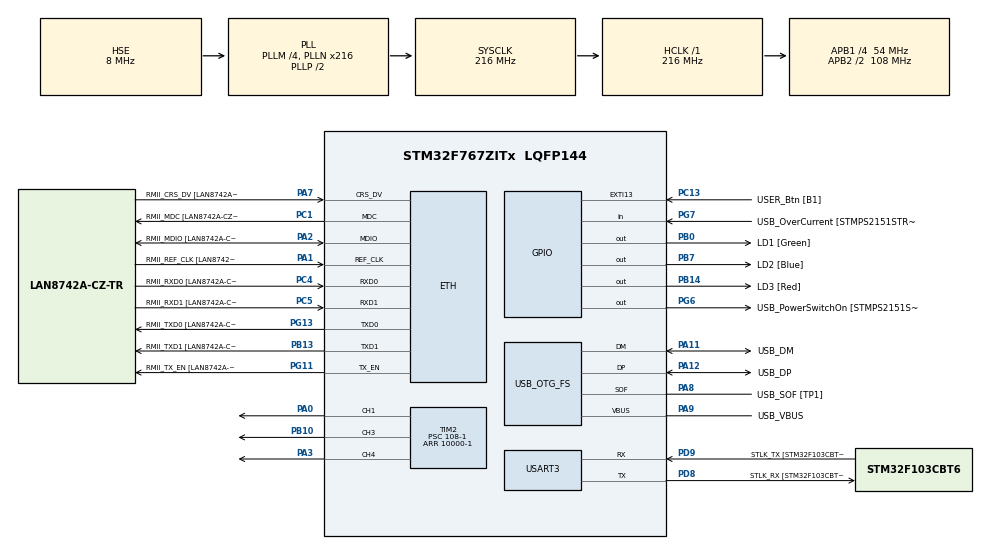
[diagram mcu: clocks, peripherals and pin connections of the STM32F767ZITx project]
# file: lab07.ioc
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ETH.MediaInterface=HAL_ETH_RMII_MODE
ETH.PHY_Name=LAN8742A_PHY_ADDRESS
ETH.PHY_Value=0
ETH.PhyAddress=0
Mcu.Family=STM32F7
Mcu.Name=STM32F767ZITx
Mcu.Package=LQFP144
NVIC.PriorityGroup=NVIC_PRIORITYGROUP_2
PA0/WKUP.Signal=S_TIM2_CH1_ETR
PA1.GPIO_Label=RMII_REF_CLK [LAN8742A-CZ-TR_REFCLK0]
PA1.Mode=RMII
PA1.Signal=ETH_REF_CLK
PA10.GPIO_Label=USB_ID
PA10.Signal=USB_OTG_FS_ID
PA11.GPIO_Label=USB_DM
PA11.Mode=Device_Only
PA11.Signal=USB_OTG_FS_DM
PA12.GPIO_Label=USB_DP
PA12.Mode=Device_Only
PA12.Signal=USB_OTG_FS_DP
PA13.GPIO_Label=TMS
PA13.Mode=Serial_Wire
PA13.Signal=SYS_JTMS-SWDIO
PA14.GPIO_Label=TCK
PA14.Mode=Serial_Wire
PA14.Signal=SYS_JTCK-SWCLK
PA2.GPIO_Label=RMII_MDIO [LAN8742A-CZ-TR_MDIO]
PA2.Mode=RMII
PA2.Signal=ETH_MDIO
PA3.Signal=S_TIM2_CH4
PA7.GPIO_Label=RMII_CRS_DV [LAN8742A-CZ-TR_CRS_DV]
PA7.Mode=RMII
PA7.Signal=ETH_CRS_DV
PA8.GPIO_Label=USB_SOF [TP1]
PA8.Mode=Activate_SOF_FS
PA8.Signal=USB_OTG_FS_SOF
PA9.GPIO_Label=USB_VBUS
PA9.Mode=Activate_VBUS
PA9.Signal=USB_OTG_FS_VBUS
PB0.GPIO_Label=LD1 [Green]
PB0.Signal=GPIO_Output
PB10.GPIO_Speed=GPIO_SPEED_FREQ_VERY_HIGH
PB10.Signal=S_TIM2_CH3
PB13.GPIO_Label=RMII_TXD1 [LAN8742A-CZ-TR_TXD1]
PB13.Mode=RMII
PB13.Signal=ETH_TXD1
PB14.GPIO_Label=LD3 [Red]
PB14.Signal=GPIO_Output
PB3.GPIO_Label=SWO
PB3.Signal=SYS_JTDO-SWO
PB7.GPIO_Label=LD2 [Blue]
PB7.Signal=GPIO_Output
PC1.GPIO_Label=RMII_MDC [LAN8742A-CZ-TR_MDC]
PC1.Mode=RMII
PC1.Signal=ETH_MDC
PC13.GPIO_Label=USER_Btn [B1]
PC13.Signal=GPXTI13
PC14/OSC32_IN.Mode=LSE-External-Oscillator
PC14/OSC32_IN.Signal=RCC_OSC32_IN
PC15/OSC32_OUT.Mode=LSE-External-Oscillator
PC15/OSC32_OUT.Signal=RCC_OSC32_OUT
PC4.GPIO_Label=RMII_RXD0 [LAN8742A-CZ-TR_RXD0]
PC4.Mode=RMII
PC4.Signal=ETH_RXD0
PC5.GPIO_Label=RMII_RXD1 [LAN8742A-CZ-TR_RXD1]
PC5.Mode=RMII
PC5.Signal=ETH_RXD1
PD8.GPIO_Label=STLK_RX [STM32F103CBT6_PA3]
PD8.Mode=Asynchronous
PD8.Signal=USART3_TX
PD9.GPIO_Label=STLK_TX [STM32F103CBT6_PA2]
PD9.Mode=Asynchronous
PD9.Signal=USART3_RX
PG11.GPIO_Label=RMII_TX_EN [LAN8742A-CZ-TR_TXEN]
PG11.Mode=RMII
PG11.Signal=ETH_TX_EN
PG13.GPIO_Label=RMII_TXD0 [LAN8742A-CZ-TR_TXD0]
PG13.Mode=RMII
PG13.Signal=ETH_TXD0
PG6.GPIO_Label=USB_PowerSwitchOn [STMPS2151STR_EN]
PG6.Signal=GPIO_Output
PG7.GPIO_Label=USB_OverCurrent [STMPS2151STR_FAULT]
PG7.Signal=GPIO_Input
PH0/OSC_IN.GPIO_Label=MCO [STM32F103CBT6_PA8]
PH0/OSC_IN.Mode=HSE-External-Clock-Source
PH0/OSC_IN.Signal=RCC_OSC_IN
PH1/OSC_OUT.Mode=HSE-External-Clock-Source
PH1/OSC_OUT.Signal=RCC_OSC_OUT
ProjectManager.HeapSize=0x200
ProjectManager.StackSize=0x400
ProjectManager.TargetToolchain=STM32CubeIDE
RCC.48MHZClocksFreq_Value=24000000
RCC.AHBFreq_Value=216000000
RCC.APB1CLKDivider=RCC_HCLK_DIV4
RCC.APB1Freq_Value=54000000
RCC.APB1TimFreq_Value=108000000
RCC.APB2CLKDivider=RCC_HCLK_DIV2
RCC.APB2Freq_Value=108000000
RCC.APB2TimFreq_Value=216000000
RCC.CortexFreq_Value=216000000
RCC.HCLKFreq_Value=216000000
RCC.HSE_VALUE=8000000
RCC.HSI_VALUE=16000000
RCC.PLLM=4
RCC.PLLMUL=RCC_PLL_MUL9
RCC.PLLN=216
RCC.PLLQ=9
RCC.PRESCALERUSB=RCC_USBCLKSOURCE_PLL_DIV1_5
RCC.SYSCLKFreq_VALUE=216000000
RCC.SYSCLKSource=RCC_SYSCLKSOURCE_PLLCLK
RCC.SYSCLKSourceVirtual=RCC_SYSCLKSOURCE_PLLCLK
RCC.USBFreq_Value=48000000
RCC.VCOOutputFreq_Value=432000000
SH.S_TIM2_CH1_ETR.0=TIM2_CH1,PWM Generation1 CH1
SH.S_TIM2_CH3.0=TIM2_CH3,PWM Generation3 CH3
SH.S_TIM2_CH4.0=TIM2_CH4,PWM Generation4 CH4
TIM2.Channel-PWM\ Generation1\ CH1=TIM_CHANNEL_1
TIM2.Channel-PWM\ Generation3\ CH3=TIM_CHANNEL_3
TIM2.Channel-PWM\ Generation4\ CH4=TIM_CHANNEL_4
TIM2.Period=10000-1
TIM2.Prescaler=108-1
TIM2.Pulse-PWM\ Generation1\ CH1=10000/4-1
TIM2.Pulse-PWM\ Generation3\ CH3=10000/4-1
TIM2.Pulse-PWM\ Generation4\ CH4=10000/4-1
USART3.VirtualMode-Asynchronous=VM_ASYNC
USB_OTG_FS.VirtualMode=Device_Only
VP_TIM2_VS_ClockSourceINT.Mode=Internal
board=NUCLEO-F767ZI

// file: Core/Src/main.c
/* USER CODE BEGIN Header */
/**
 ******************************************************************************
 * @file           : main.c
 * @brief          : Main program body
 ******************************************************************************
 * @attention
 *
 * Copyright (c) 2022 STMicroelectronics.
 * All rights reserved.
 *
 * This software is licensed under terms that can be found in the LICENSE file
 * in the root directory of this software component.
 * If no LICENSE file comes with this software, it is provided AS-IS.
 *
 ******************************************************************************
 */
/* USER CODE END Header */
#include "main.h"
#include "eth.h"
#include "tim.h"
#include "usart.h"
#include "usb_otg.h"
#include "gpio.h"

/* USER CODE BEGIN Includes */
#include "string.h"
/* USER CODE END Includes */

/* USER CODE BEGIN PTD */
uint8_t pwm;
uint8_t pwmR;
uint8_t pwmG;
uint8_t pwmB;

float dutyCycle = 0;
float dutyCycleR = 0;
float dutyCycleG = 0;
float dutyCycleB = 0;

char input;
/* USER CODE END PTD */

void SystemClock_Config(void);

/* USER CODE BEGIN 0 */
//extern void display() {
//	char input;
//	char receive[] = "INPUT RGB : ";
//	char line[] = "\n\r";
//	HAL_UART_Transmit(&huart3, (uint8_t*) receive, strlen(receive), 1000);
//	while (__HAL_UART_GET_FLAG(&huart3, UART_FLAG_RXNE) == RESET) {
//	}
//	HAL_UART_Receive(&huart3, (uint8_t*) &input, 1, 1000);
//	HAL_UART_Transmit(&huart3, (uint8_t*) &input, 1, 1000);
//	HAL_UART_Transmit(&huart3, (uint8_t*) line, strlen(line), 1000);
//	if (input == 'R') {
//		dutyCycleR += 0.2;
//		if (dutyCycleR > 1.0) {
//			dutyCycleR = 0;
//		}
//	} else if (input == 'G') {
//		dutyCycleG += 0.2;
//		if (dutyCycleG > 1.0) {
//			dutyCycleG = 0;
//		}
//	} else if (input == 'B') {
//		dutyCycleB += 0.2;
//		if (dutyCycleB > 1.0) {
//			dutyCycleB = 0;
//		}
//	} else if (input == 'S') {
//		dutyCycleR = 0;
//		dutyCycleG = 0;
//		dutyCycleB = 0;
//
//	}
//}
/* USER CODE END 0 */

int main(void)
{

  /* MCU Configuration--------------------------------------------------------*/

  /* Reset of all peripherals, Initializes the Flash interface and the Systick. */
  HAL_Init();

  /* Configure the system clock */
  SystemClock_Config();

  /* Initialize all configured peripherals */
  MX_GPIO_Init();
  MX_ETH_Init();
  MX_USART3_UART_Init();
  MX_USB_OTG_FS_PCD_Init();
  MX_TIM2_Init();
  /* USER CODE BEGIN 2 */

//	htim2.Instance->CCR1 = (10000 - 1) * dutyCycleR;
//	HAL_TIM_PWM_Start(&htim2, TIM_CHANNEL_1);
//
//  htim2.Instance -> CCR3 = (10000-1) * 0.9;
//  HAL_TIM_PWM_Start(&htim2, TIM_CHANNEL_3);
//  pwmR = (GPIOB->IDR & GPIO_PIN_10) >> 10;

//   htim2.Instance -> CCR4 = (10000-1) * 0.1;
//    HAL_TIM_PWM_Start(&htim2, TIM_CHANNEL_4);
//    pwmR = (GPIOA->IDR & GPIO_PIN_3) >> 3;
//	htim2.Instance->CCR1 = (10000 - 1) * dutyCycleR;
//	HAL_TIM_PWM_Start(&htim2, TIM_CHANNEL_1);
//	htim2.Instance->CCR3 = (10000 - 1) * dutyCycleG;
//	HAL_TIM_PWM_Start(&htim2, TIM_CHANNEL_3);
//	htim2.Instance->CCR4 = (10000 - 1) * dutyCycleB;
//	HAL_TIM_PWM_Start(&htim2, TIM_CHANNEL_4);
  /* USER CODE END 2 */

  /* Infinite loop */
	while (1) {

    /* USER CODE BEGIN 3 */

//		char input;
		char receive[] = "INPUT RGB : ";
		char line[] = "\n\r";
		HAL_UART_Transmit(&huart3, (uint8_t*) receive, strlen(receive), 1000);
		while (__HAL_UART_GET_FLAG(&huart3, UART_FLAG_RXNE) == RESET) {
			pwmR = (GPIOA->IDR & GPIO_PIN_0) >> 0;
			pwmG = (GPIOB->IDR & GPIO_PIN_10) >> 10;
			pwmB = (GPIOA->IDR & GPIO_PIN_3) >> 3;
			HAL_Delay(100);
		}
		HAL_UART_Receive(&huart3, (uint8_t*) &input, 1, 1000);
		HAL_UART_Transmit(&huart3, (uint8_t*) &input, 1, 1000);
		HAL_UART_Transmit(&huart3, (uint8_t*) line, strlen(line), 1000);
		if (input == 'R') {
			dutyCycleR += 0.2;
			if (dutyCycleR > 1.0) {
				dutyCycleR = 0;
			}
		}
		else if (input == 'G') {
			dutyCycleG += 0.2;
			if (dutyCycleG > 1.0) {
				dutyCycleG = 0;
			}
		}
		else if (input == 'B') {
			dutyCycleB += 0.2;ิ
			if (dutyCycleB > 1.0) {
				dutyCycleB = 0;
			}
		}
		else if (input == 's') {
			dutyCycleR = 0;
			dutyCycleG = 0;
			dutyCycleB = 0;

		}
			htim2.Instance->CCR1 = (10000 - 1) * dutyCycleR;
			htim2.Instance->CCR3 = (10000 - 1) * dutyCycleG;
			htim2.Instance->CCR4 = (10000 - 1) * dutyCycleB;
			HAL_TIM_PWM_Start(&htim2, TIM_CHANNEL_1);
			HAL_TIM_PWM_Start(&htim2, TIM_CHANNEL_3);
			HAL_TIM_PWM_Start(&htim2, TIM_CHANNEL_4);

	}
  /* USER CODE END 3 */
}

void SystemClock_Config(void)
{
  RCC_OscInitTypeDef RCC_OscInitStruct = {0};
  RCC_ClkInitTypeDef RCC_ClkInitStruct = {0};

  /** Configure LSE Drive Capability
  */
  HAL_PWR_EnableBkUpAccess();

  /** Configure the main internal regulator output voltage
  */
  __HAL_RCC_PWR_CLK_ENABLE();
  __HAL_PWR_VOLTAGESCALING_CONFIG(PWR_REGULATOR_VOLTAGE_SCALE1);

  /** Initializes the RCC Oscillators according to the specified parameters
  * in the RCC_OscInitTypeDef structure.
  */
  RCC_OscInitStruct.OscillatorType = RCC_OSCILLATORTYPE_HSE;
  RCC_OscInitStruct.HSEState = RCC_HSE_BYPASS;
  RCC_OscInitStruct.PLL.PLLState = RCC_PLL_ON;
  RCC_OscInitStruct.PLL.PLLSource = RCC_PLLSOURCE_HSE;
  RCC_OscInitStruct.PLL.PLLM = 4;
  RCC_OscInitStruct.PLL.PLLN = 216;
  RCC_OscInitStruct.PLL.PLLP = RCC_PLLP_DIV2;
  RCC_OscInitStruct.PLL.PLLQ = 9;
  RCC_OscInitStruct.PLL.PLLR = 2;
  if (HAL_RCC_OscConfig(&RCC_OscInitStruct) != HAL_OK)
  {
    Error_Handler();
  }

  /** Activate the Over-Drive mode
  */
  if (HAL_PWREx_EnableOverDrive() != HAL_OK)
  {
    Error_Handler();
  }

  /** Initializes the CPU, AHB and APB buses clocks
  */
  RCC_ClkInitStruct.ClockType = RCC_CLOCKTYPE_HCLK|RCC_CLOCKTYPE_SYSCLK
                              |RCC_CLOCKTYPE_PCLK1|RCC_CLOCKTYPE_PCLK2;
  RCC_ClkInitStruct.SYSCLKSource = RCC_SYSCLKSOURCE_PLLCLK;
  RCC_ClkInitStruct.AHBCLKDivider = RCC_SYSCLK_DIV1;
  RCC_ClkInitStruct.APB1CLKDivider = RCC_HCLK_DIV4;
  RCC_ClkInitStruct.APB2CLKDivider = RCC_HCLK_DIV2;

  if (HAL_RCC_ClockConfig(&RCC_ClkInitStruct, FLASH_LATENCY_7) != HAL_OK)
  {
    Error_Handler();
  }
}

void Error_Handler(void)
{
	__disable_irq();
	while (1) {
	}
}
